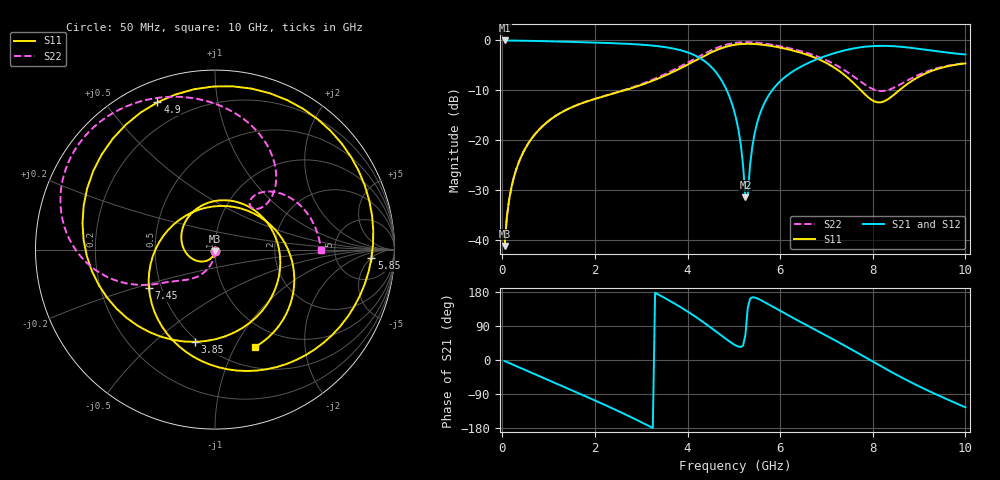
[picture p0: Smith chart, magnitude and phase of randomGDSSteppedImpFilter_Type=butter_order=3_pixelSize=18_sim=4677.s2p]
! freq	dB(S11)	phase(S11)	dB(S12)	phase(S12)
!  dB(S21)	phase(S21)	dB(S22)	phase(S22)
!S-par simulation data
#  GHz  S  DB  R 50
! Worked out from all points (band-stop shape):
!   200 points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, 50 MHz to 10 GHz, reference 50 ohm
!   highest |S21| = -0.01 dB at 50 MHz (marker M1); lowest = -31.5 dB at 5.25 GHz (marker M2)
!   |S21| within 3 dB of the highest: start of sweep to 4.16 GHz; 7.019 GHz to end of sweep
!   lowest |S11| = -41.3 dB at 50 MHz (marker M3), VSWR 1.02, Z = 49.9 - j0.862 ohm
!   |S11| at or under -10 dB: start of sweep to 2.645 GHz; 7.741 GHz to 8.574 GHz (832.4 MHz wide, 10.2 % of centre)
!   |S22| runs from -41.3 to -0.3 dB; largest |S21 - S12| = 0
!   S11 on the Smith chart (normalised r, x): 50 MHz: 1.00, -0.02; 3.85 GHz: 0.48, -0.69; 4.9 GHz: 0.09, +0.68; 5.85 GHz: 13, -5; 7.45 GHz: 0.43, -0.22; 10 GHz: 0.73, -1.21
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0.05  -41.27 -93.1  -0.01 -2.7  -0.01 -2.7  -41.30 -91.0
0.2  -29.38 -105.5  -0.02 -10.7  -0.02 -10.7  -29.35 -95.7
0.5  -21.64 -129.4  -0.07 -26.7  -0.07 -26.7  -21.60 -105.1
1.15  -15.16 178.3  -0.21 -61.2  -0.21 -61.2  -15.14 -122.2
1.75  -12.50 126.6  -0.36 -93.2  -0.36 -93.2  -12.49 -134.5
2.55  -10.26 48.7  -0.61 -137.4  -0.61 -137.4  -10.20 -144.6
3.4  -7.52 -46.4  -1.20 170.8  -1.20 170.8  -7.26 -153.0
3.85  -5.58 -102.2  -1.96 139.4  -1.96 139.4  -5.20 -160.6
4.15  -4.13 -142.1  -2.96 116.0  -2.96 116.0  -3.70 -168.5
4.45  -2.69 175.9  -4.78 90.2  -4.78 90.2  -2.25 -179.4
4.9  -1.10 111.3  -11.16 49.4  -11.16 49.4  -0.71 158.5
5.05  -0.83 90.6  -15.73 37.8  -15.73 37.8  -0.46 150.3
5.25  -0.68 64.3  -31.51 66.8  -31.51 66.8  -0.34 139.5
5.5  -0.75 34.2  -16.65 162.8  -16.65 162.8  -0.45 126.6
5.85  -1.18 -3.1  -9.74 139.8  -9.74 139.8  -0.90 110.0
6.3  -2.09 -44.9  -6.06 109.7  -6.06 109.7  -1.79 90.2
6.7  -3.28 -79.5  -4.14 83.7  -4.14 83.7  -2.88 73.3
7.45  -7.41 -149.8  -1.87 34.0  -1.87 34.0  -6.35 45.9
7.9  -11.40 148.3  -1.20 2.8  -1.20 2.8  -9.27 42.4
8.35  -11.66 65.0  -1.11 -28.2  -1.11 -28.2  -9.89 52.9
9.1  -6.80 -15.9  -1.82 -75.4  -1.82 -75.4  -6.48 41.8
10  -4.63 -67.9  -2.82 -124.9  -2.82 -124.9  -4.59 -0.2
